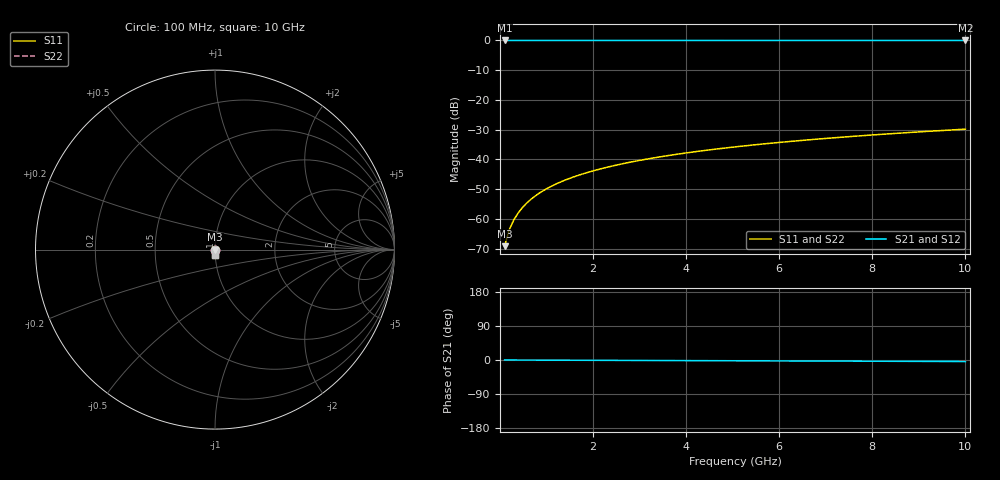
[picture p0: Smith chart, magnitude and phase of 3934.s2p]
# Hz S RI R 50.00
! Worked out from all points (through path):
!   100 points, 100 MHz to 10 GHz, reference 50 ohm
!   highest |S21| = 0.00 dB at 100 MHz (marker M1); lowest = 0.0 dB at 10 GHz (marker M2)
!   lowest |S11| = -69.1 dB at 100 MHz (marker M3), VSWR 1.00, Z = 50 - j0.0321 ohm
!   |S11| at or under -10 dB: start of sweep to end of sweep
!   |S22| runs from -69.1 to -29.8 dB; largest |S21 - S12| = 0
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1e8  0.000137 -0.000321  0.9999 -0.000701  0.9999 -0.000701  0.000137 -0.000321
2e8  0.000136 -0.000642  0.9999 -0.0014  0.9999 -0.0014  0.000136 -0.000642
3e8  0.000135 -0.000963  0.9999 -0.0021  0.9999 -0.0021  0.000135 -0.000963
4e8  0.000134 -0.00128  0.9999 -0.00281  0.9999 -0.00281  0.000134 -0.00128
5e8  0.000132 -0.00161  0.9998 -0.00351  0.9998 -0.00351  0.000132 -0.00161
6e8  0.000129 -0.00193  0.9998 -0.00421  0.9998 -0.00421  0.000129 -0.00193
7e8  0.000126 -0.00225  0.9998 -0.00491  0.9998 -0.00491  0.000126 -0.00225
8e8  0.000123 -0.00257  0.9998 -0.00561  0.9998 -0.00561  0.000123 -0.00257
9e8  0.000119 -0.00289  0.9998 -0.00631  0.9998 -0.00631  0.000119 -0.00289
1.1e9  0.00011 -0.00353  0.9998 -0.00772  0.9998 -0.00772  0.00011 -0.00353
1.4e9  9.2e-05 -0.0045  0.9998 -0.00982  0.9998 -0.00982  9.2e-05 -0.0045
1.8e9  6.22e-05 -0.00578  0.9997 -0.0126  0.9997 -0.0126  6.22e-05 -0.00578
2.1e9  3.5e-05 -0.00675  0.9997 -0.0147  0.9997 -0.0147  3.5e-05 -0.00675
2.5e9  -7.66e-06 -0.00803  0.9997 -0.0175  0.9997 -0.0175  -7.66e-06 -0.00803
2.9e9  -5.76e-05 -0.00932  0.9996 -0.0204  0.9996 -0.0204  -5.76e-05 -0.00932
3.4e9  -0.00013 -0.0109  0.9995 -0.0239  0.9995 -0.0239  -0.00013 -0.0109
4.2e9  -0.00027 -0.0135  0.9993 -0.0295  0.9993 -0.0295  -0.00027 -0.0135
5.1e9  -0.000463 -0.0164  0.999 -0.0358  0.999 -0.0358  -0.000463 -0.0164
5.9e9  -0.000665 -0.019  0.9988 -0.0415  0.9988 -0.0415  -0.000665 -0.019
6.7e9  -0.000897 -0.0216  0.9985 -0.0471  0.9985 -0.0471  -0.000897 -0.0216
8.4e9  -0.00149 -0.0271  0.9977 -0.0591  0.9977 -0.0591  -0.00149 -0.0271
1e10  -0.00216 -0.0322  0.9968 -0.0704  0.9968 -0.0704  -0.00216 -0.0322
